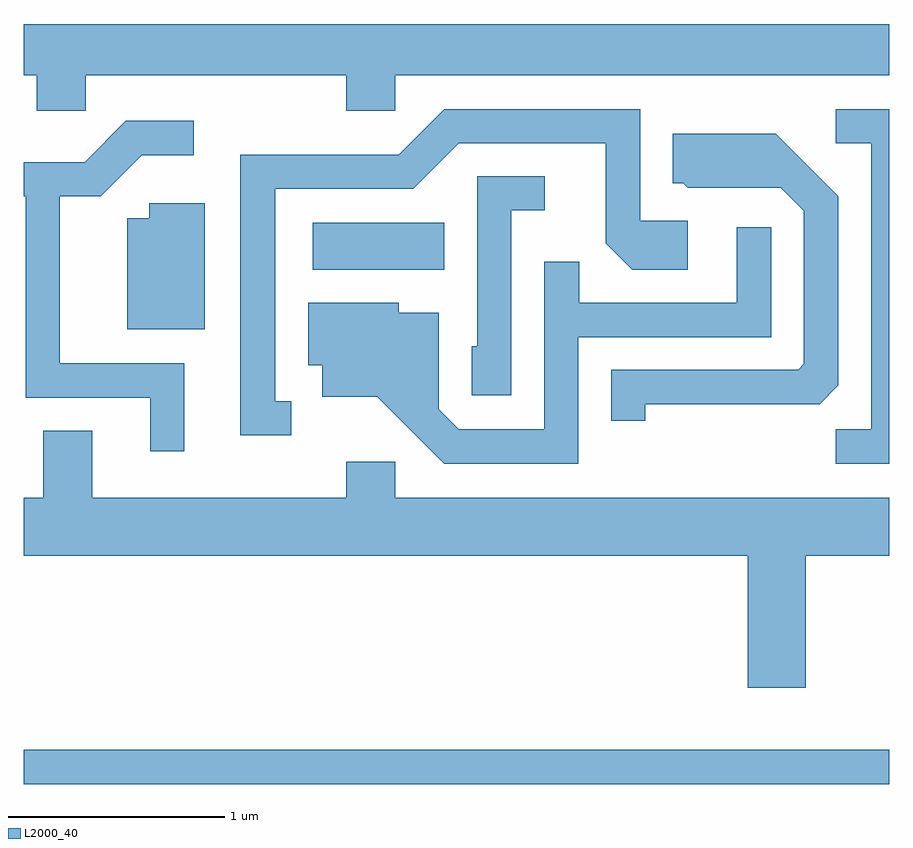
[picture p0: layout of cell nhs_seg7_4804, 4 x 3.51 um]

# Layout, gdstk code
import gdstk
lib = gdstk.Library(unit=1e-6, precision=1e-09)
def R(c, l, rs):  # rectangles x0, y0, x1, y1
    for r in rs: c.add(gdstk.rectangle(r[:2], r[2:], *l))
def P(c, l, *ps):  # polygons
    for p in ps: c.add(gdstk.Polygon(p, *l))
L2000_40 = (2000, 40)

nhs_seg7_4804 = lib.new_cell('nhs_seg7_4804')
R(nhs_seg7_4804, L2000_40, [(331.611,1788.741,335.611,1788.899), (332.946,1791.116,333.554,1791.334)])
P(nhs_seg7_4804, L2000_40, [(331.899,1792.016),(333.101,1792.016),(333.101,1791.851),(333.329,1791.851),(333.329,1792.016),(335.611,1792.016),(335.611,1792.252),(331.611,1792.252),(331.611,1792.016),(331.671,1792.016),(331.671,1791.851),(331.899,1791.851)],
  [(335.611,1791.859),(335.363,1791.859),(335.363,1791.701),(335.526,1791.701),(335.526,1790.379),(335.363,1790.379),(335.363,1790.221),(335.611,1790.221)],
  [(332.848,1790.509),(332.774,1790.509),(332.774,1791.491),(333.412,1791.491),(333.622,1791.701),(334.301,1791.701),(334.301,1791.239),(334.424,1791.116),(334.679,1791.116),(334.679,1791.344),(334.459,1791.344),(334.459,1791.859),(333.554,1791.859),(333.344,1791.649),(332.611,1791.649),(332.611,1790.351),(332.848,1790.351)],
  [(332.354,1790.684),(331.779,1790.684),(331.779,1791.456),(331.967,1791.456),(332.157,1791.646),(332.398,1791.646),(332.398,1791.804),(332.084,1791.804),(331.894,1791.614),(331.611,1791.614),(331.611,1791.456),(331.621,1791.456),(331.621,1790.526),(332.196,1790.526),(332.196,1790.278),(332.354,1790.278)],
  [(334.484,1790.496),(335.289,1790.496),(335.374,1790.582),(335.374,1791.457),(335.087,1791.744),(334.611,1791.744),(334.611,1791.516),(334.659,1791.516),(334.679,1791.496),(335.109,1791.496),(335.216,1791.389),(335.216,1790.682),(335.189,1790.654),(334.326,1790.654),(334.326,1790.418),(334.484,1790.418)],
  [(333.864,1791.391),(334.018,1791.391),(334.018,1791.549),(333.706,1791.549),(333.706,1790.764),(333.681,1790.764),(333.681,1790.536),(333.864,1790.536)],
  [(332.449,1791.424),(332.191,1791.424),(332.191,1791.354),(332.091,1791.354),(332.091,1790.841),(332.449,1790.841)],
  [(334.174,1790.806),(335.064,1790.806),(335.064,1791.313),(334.906,1791.313),(334.906,1790.964),(334.179,1790.964),(334.179,1791.153),(334.016,1791.153),(334.016,1790.379),(333.622,1790.379),(333.529,1790.472),(333.529,1790.919),(333.344,1790.919),(333.344,1790.964),(332.926,1790.964),(332.926,1790.676),(332.991,1790.676),(332.991,1790.531),(333.244,1790.531),(333.554,1790.221),(334.174,1790.221)],
  [(335.224,1789.796),(335.611,1789.796),(335.611,1790.064),(333.329,1790.064),(333.329,1790.229),(333.101,1790.229),(333.101,1790.064),(331.929,1790.064),(331.929,1790.374),(331.701,1790.374),(331.701,1790.064),(331.611,1790.064),(331.611,1789.796),(334.956,1789.796),(334.956,1789.186),(335.224,1789.186)])

lib.write_gds('nhs_seg7_4804.gds')
